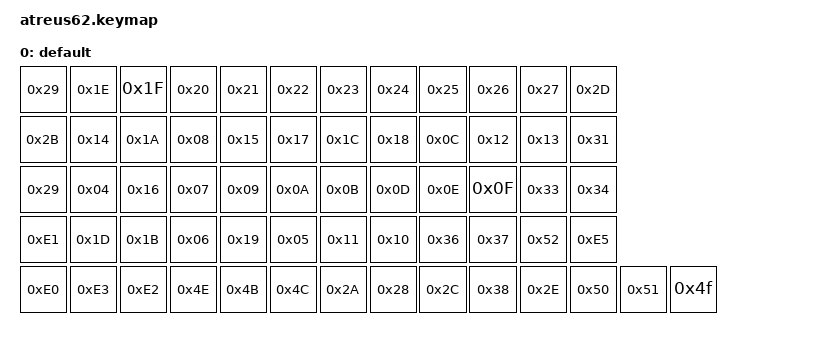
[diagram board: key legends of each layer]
/*
 * Copyright (c) 2020 The ZMK Contributors
 *
 * SPDX-License-Identifier: MIT
 */

#include <behaviors.dtsi>
#include <dt-bindings/zmk/keys.h>
#include <dt-bindings/zmk/bt.h>
#include <dt-bindings/zmk/outputs.h>

/ {
	keymap0: keymap {
		compatible = "zmk,keymap";

		default {
// -----------------------------------------------------------------------------------------
// |  TAB  |  Q   |  W   |  E   |  R   |  T   |   Y   |  U    |  I   |  O   |   P   | BSPC  |
// |  ESC  |  A   |  S   |  D   |  F   |  G   |   H   |  J    |  K   |  L   |   ;   |  '    |
// | SHIFT |  Z   |  X   |  C   |  V   |  B   |   N   |  M    |  ,   |  .   |   /   |  RET  |
// | FN    | LGUI | LALT | LCTL | LOWR |     SPACE    |  RAIS | LARW | DARW | UARW  |  RARW |
				bindings = <
				&kp 0x29 &kp 0x1E &kp 0x1F &kp 0x20 &kp 0x21 &kp 0x22 &kp 0x23 &kp 0x24 &kp 0x25 &kp 0x26 &kp 0x27 &kp 0x2D
				&kp 0x2B &kp 0x14 &kp 0x1A &kp 0x08 &kp 0x15 &kp 0x17 &kp 0x1C &kp 0x18 &kp 0x0C &kp 0x12 &kp 0x13 &kp 0x31
				&kp 0x29 &kp 0x04 &kp 0x16 &kp 0x07 &kp 0x09 &kp 0x0A &kp 0x0B &kp 0x0D &kp 0x0E &kp 0x0F &kp 0x33 &kp 0x34
				&kp 0xE1 &kp 0x1D &kp 0x1B &kp 0x06	&kp 0x19 &kp 0x05 &kp 0x11 &kp 0x10 &kp 0x36 &kp 0x37 &kp 0x52 &kp 0xE5
				&kp 0xE0 &kp 0xE3 &kp 0xE2 &kp 0x4E &kp 0x4B &kp 0x4C &kp 0x2A &kp 0x28 &kp 0x2C &kp 0x38 &kp 0x2E &kp 0x50 &kp 0x51 &kp 0x4f
			>;
		};
	};
};
